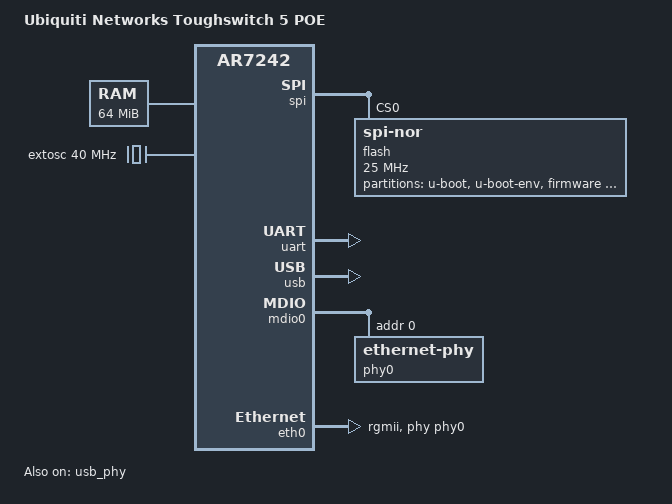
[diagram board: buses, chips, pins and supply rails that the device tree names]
// SPDX-License-Identifier: GPL-2.0-or-later OR MIT
/dts-v1/;

#include <dt-bindings/gpio/gpio.h>
#include <dt-bindings/input/input.h>

#include "ar7242.dtsi"

/ {
	compatible = "ubnt,toughswitch-5-poe", "qca,ar7242";
	model = "Ubiquiti Networks Toughswitch 5 POE";

	memory@0 {
		device_type = "memory";
		reg = <0x0 0x4000000>;
	};

	extosc: ref {
		compatible = "fixed-clock";
		#clock-cells = <0>;
		clock-frequency = <40000000>;
	};
};

&pll {
	clocks = <&extosc>;
};

&spi {
	status = "okay";
	num-cs = <1>;

	flash@0 {
		#address-cells = <1>;
		#size-cells = <1>;
		compatible = "jedec,spi-nor";
		reg = <0>;
		spi-max-frequency = <25000000>;

		partitions {
			compatible = "fixed-partitions";
			#address-cells = <1>;
			#size-cells = <1>;

			partition@0 {
				reg = <0x0 0x40000>;
				label = "u-boot";
				read-only;
			};

			partition@40000 {
				reg = <0x40000 0x10000>;
				label = "u-boot-env";
				read-only;
			};

			partition@50000 {
				reg = <0x50000 0x760000>;
				label = "firmware";
			};

			partition@7b0000 {
				reg = <0x7b0000 0x40000>;
				label = "cfg";
				read-only;
			};

			eeprom: partition@7f0000 {
				reg = <0x7f0000 0x10000>;
				label = "EEPROM";
				read-only;
			};
		};
	};
};

&uart {
	status = "okay";
};

&usb_phy {
	status = "okay";
};

&usb {
	status = "okay";
};

&mdio0 {
	status = "okay";

	phy0: ethernet-phy@0 {
		reg = <0>;
		phy-mode = "rgmii";

		qca,ar8327-initvals = <
			0x00004 0x07600000 /* PAD0_MODE */
			0x00008 0x00000000 /* PAD5_MODE */
			0x0000c 0x01000000 /* PAD6_MODE */
			0x00010 0x40000000 /* POWER_ON_STRIP */
			0x00050 0xcf35cf35 /* LED_CTRL0 */
			0x00054 0xcf35cf35 /* LED_CTRL1 */
			0x00058 0xcf35cf35 /* LED_CTRL2 */
			0x0005c 0x03ffff00 /* LED_CTRL3 */
			0x0007c 0x0000007e /* PORT0_STATUS */
			0x00094 0x00000200 /* PORT6_STATUS */
		>;
	};
};

/*&mdio1 {
	status = "okay";

	phy4: ethernet-phy@4 {
		reg = <4>;
		phy-mode = "mii";
	};
};*/

&eth0 {
	status = "okay";

	phy-mode = "rgmii";
	phy-handle = <&phy0>;
	mtd-mac-address = <&eeprom 0x0>;
};

/*&eth1 {
	status = "okay";

	mtd-mac-address = <&eeprom 0x6>;
	phy-handle = <&phy4>;
	phy-mode = "mii";

	fixed-link {
		speed = <100>;
		full-duplex;
	};
};*/
